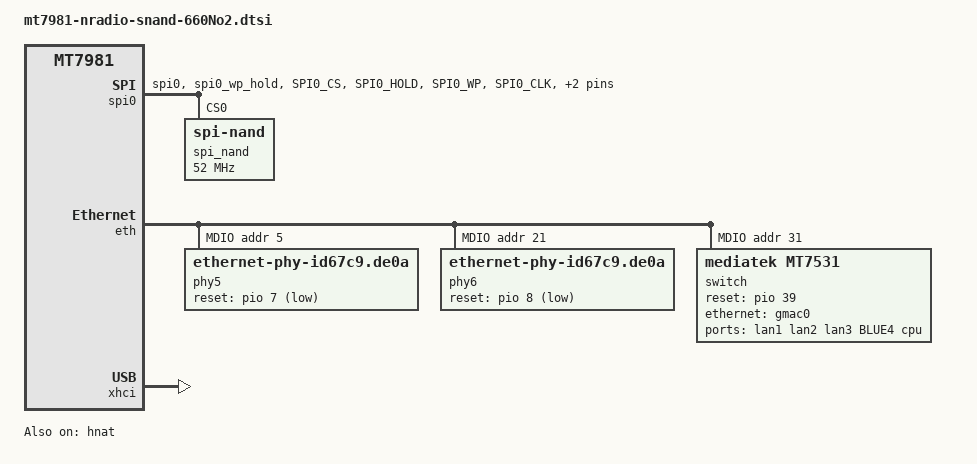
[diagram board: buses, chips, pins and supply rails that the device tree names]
#include "mt7981-nradio-common-660No2.dtsi"

/ {
	compatible = "HCMT7981-NAND", "mediatek,mt7981-rfb";

	nmbm_spim_nand {
		compatible = "generic,nmbm";

		#address-cells = <1>;
		#size-cells = <1>;

		lower-mtd-device = <&spi_nand>;
		forced-create;

		partitions {
			compatible = "fixed-partitions";
			#address-cells = <1>;
			#size-cells = <1>;

			partition@0 {
				label = "BL2";
				reg = <0x00000 0x0100000>;
				read-only;
			};

			partition@100000 {
				label = "u-boot-env";
				reg = <0x0100000 0x0080000>;
			};

			partition@180000 {
				label = "factory";
				reg = <0x180000 0x0180000>;
			};

			partition@300000 {
				label = "bdinfo";
				reg = <0x300000 0x0080000>;
			};

			partition@380000 {
				label = "FIP";
				reg = <0x380000 0x0200000>;
			};

			partition@580000 {
				label = "ubi_1st";
				reg = <0x580000 0x4000000>;
			};

			partition@4580000 {
				label = "app_data";
				reg = <0x4580000 0x1000000>;
			};

			partition@5580000 {
				label = "ubi";
				reg = <0x5580000 0x1AA80000>;
			};
		};
	};
};

&spi0 {
	pinctrl-names = "default";
	pinctrl-0 = <&spi0_flash_pins>;
	status = "okay";
	spi_nand: spi_nand@0 {
		#address-cells = <1>;
		#size-cells = <1>;
		compatible = "spi-nand";
		spi-cal-enable;
		spi-cal-mode = "read-data";
		spi-cal-datalen = <7>;
		spi-cal-data = /bits/ 8 <0x53 0x50 0x49 0x4E 0x41 0x4E 0x44>;
		spi-cal-addrlen = <5>;
		spi-cal-addr = /bits/ 32 <0x0 0x0 0x0 0x0 0x0>;
		reg = <0>;
		spi-max-frequency = <52000000>;
		spi-tx-buswidth = <4>;
		spi-rx-buswidth = <4>;
	};
};

&spi1 {
	pinctrl-names = "default";
	pinctrl-0 = <&spic_pins>;
	status = "disabled";

	slb9670: slb9670@0 {
		compatible = "infineon,slb9670";
		reg = <0>; /* CE0 */
		#address-cells = <1>;
		#size-cells = <0>;
		spi-cal-enable;
		spi-cal-mode = "read-data";
		spi-cal-datalen = <2>;
		spi-cal-data = /bits/ 8 <0x00 0x1b>;
		spi-max-frequency = <20000000>;
	};
};

&pio {

	i2c_pins: i2c-pins-g0 {
                mux {
                        function = "i2c";
                        groups = "i2c0_0";
                };
        };

        pcm_pins: pcm-pins-g0 {
                mux {
                        function = "pcm";
                        groups = "pcm";
                };
        };

        pwm0_pin: pwm0-pin-g0 {
                mux {
                        function = "pwm";
                        groups = "pwm0_0";
                };
        };

        pwm1_pin: pwm1-pin-g0 {
                mux {
                        function = "pwm";
                        groups = "pwm1_0";
                };
        };

        pwm2_pin: pwm2-pin {
                mux {
                        function = "pwm";
                        groups = "pwm2";
                };
        };

	spi0_flash_pins: spi0-pins {
		mux {
			function = "spi";
			groups = "spi0", "spi0_wp_hold";
		};

		conf-pu {
			pins = "SPI0_CS", "SPI0_HOLD", "SPI0_WP";
			drive-strength = <MTK_DRIVE_8mA>;
			bias-pull-up = <MTK_PUPD_SET_R1R0_11>;
		};

		conf-pd {
			pins = "SPI0_CLK", "SPI0_MOSI", "SPI0_MISO";
			drive-strength = <MTK_DRIVE_8mA>;
			bias-pull-down = <MTK_PUPD_SET_R1R0_11>;
		};
	};

	spic_pins: spi1-pins {
		mux {
			function = "spi";
			groups = "spi1_1";
		};
	};

	uart1_pins: uart1-pins-g1 {
                mux {
                        function = "uart";
                        groups = "uart1_1";
                };
        };

	uart2_pins: uart2-pins-g1 {
		mux {
                        function = "uart";
                        groups = "uart2_1";
                };
        };
};

&eth {
	status = "okay";

	gmac0: mac@0 {
		compatible = "mediatek,eth-mac";
		reg = <0>;
		phy-mode = "2500base-x";

		fixed-link {
			speed = <2500>;
			full-duplex;
			pause;
		};
	};

	gmac1: mac@1 {
		compatible = "mediatek,eth-mac";
		reg = <1>;
		phy-mode = "2500base-x";

		fixed-link {
			speed = <2500>;
			full-duplex;
			pause;
		};
	};

	mdio: mdio-bus {
		#address-cells = <1>;
		#size-cells = <0>;

		phy5: phy@5 {
			compatible = "ethernet-phy-id67c9.de0a";
			reg = <5>;
			reset-gpios = <&pio 7 1>;
			reset-assert-us = <600>;
			reset-deassert-us = <20000>;
			phy-mode = "2500base-x";
		};

		phy6: phy@6 {
			compatible = "ethernet-phy-id67c9.de0a";
			reg = <21>;
			reset-gpios = <&pio 8 1>;
			reset-assert-us = <600>;
			reset-deassert-us = <20000>;
			phy-mode = "2500base-x";
		};

		switch@0 {
			compatible = "mediatek,mt7531";
			reg = <31>;
			reset-gpios = <&pio 39 0>;

			ports {
				#address-cells = <1>;
				#size-cells = <0>;

				port@1 {
					reg = <1>;
					label = "lan1";
				};

				port@2 {
					reg = <2>;
					label = "lan2";
				};

				port@3 {
					reg = <3>;
					label = "lan3";
				};

				port@5 {
					reg = <5>;
					label = "BLUE4";
					phy-mode = "2500base-x";
					phy-handle = <&phy5>;
				};

				port@6 {
					reg = <6>;
					label = "cpu";
					ethernet = <&gmac0>;
					phy-mode = "2500base-x";

					fixed-link {
						speed = <2500>;
						full-duplex;
						pause;
					};
				};
			};
		};
	};
};

&xhci {
	status = "okay";
};

&hnat {
	mtketh-wan = "eth1";
	mtketh-lan = "lan";
	mtketh-max-gmac = <2>;
	status = "okay";
};
